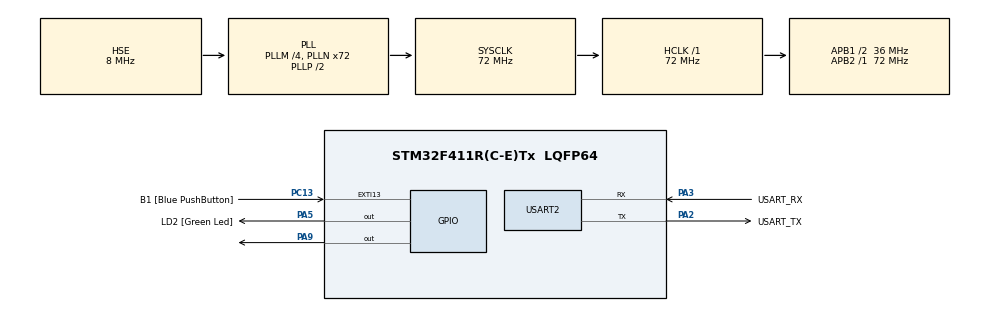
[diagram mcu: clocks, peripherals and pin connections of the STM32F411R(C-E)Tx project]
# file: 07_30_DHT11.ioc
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Mcu.Family=STM32F4
Mcu.Name=STM32F411R(C-E)Tx
Mcu.Package=LQFP64
NVIC.PriorityGroup=NVIC_PRIORITYGROUP_0
PA13.GPIO_Label=TMS
PA13.Mode=Serial_Wire
PA13.Signal=SYS_JTMS-SWDIO
PA14.GPIO_Label=TCK
PA14.Mode=Serial_Wire
PA14.Signal=SYS_JTCK-SWCLK
PA2.GPIO_Label=USART_TX
PA2.Mode=Asynchronous
PA2.Signal=USART2_TX
PA3.GPIO_Label=USART_RX
PA3.Mode=Asynchronous
PA3.Signal=USART2_RX
PA5.GPIO_Label=LD2 [Green Led]
PA5.Signal=GPIO_Output
PA9.Signal=GPIO_Output
PB3.GPIO_Label=SWO
PB3.Signal=SYS_JTDO-SWO
PC13-ANTI_TAMP.GPIO_Label=B1 [Blue PushButton]
PC13-ANTI_TAMP.GPIO_ModeDefaultEXTI=GPIO_MODE_IT_FALLING
PC13-ANTI_TAMP.Signal=GPXTI13
PC14-OSC32_IN.Signal=RCC_OSC32_IN
PC15-OSC32_OUT.Signal=RCC_OSC32_OUT
PH0\ -\ OSC_IN.Mode=HSE-External-Clock-Source
PH0\ -\ OSC_IN.Signal=RCC_OSC_IN
PH1\ -\ OSC_OUT.Mode=HSE-External-Clock-Source
PH1\ -\ OSC_OUT.Signal=RCC_OSC_OUT
ProjectManager.HeapSize=0x200
ProjectManager.StackSize=0x400
ProjectManager.TargetToolchain=STM32CubeIDE
RCC.48MHZClocksFreq_Value=36000000
RCC.AHBFreq_Value=72000000
RCC.APB1CLKDivider=RCC_HCLK_DIV2
RCC.APB1Freq_Value=36000000
RCC.APB1TimFreq_Value=72000000
RCC.APB2Freq_Value=72000000
RCC.APB2TimFreq_Value=72000000
RCC.CortexFreq_Value=72000000
RCC.FLatency-AdvancedSettings=FLASH_LATENCY_2
RCC.HCLKFreq_Value=72000000
RCC.HSE_VALUE=8000000
RCC.HSI_VALUE=16000000
RCC.PLLM=4
RCC.PLLN=72
RCC.PLLSourceVirtual=RCC_PLLSOURCE_HSE
RCC.SYSCLKFreq_VALUE=72000000
RCC.SYSCLKSource=RCC_SYSCLKSOURCE_PLLCLK
RCC.VCOOutputFreq_Value=144000000
TIM1.Prescaler=71
USART2.VirtualMode=VM_ASYNC
VP_TIM1_VS_ClockSourceINT.Mode=Internal
board=NUCLEO-F411RE

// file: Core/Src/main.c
/* USER CODE BEGIN Header */
/**
  ******************************************************************************
  * @file           : main.c
  * @brief          : Main program body
  ******************************************************************************
  * @attention
  *
  * Copyright (c) 2024 STMicroelectronics.
  * All rights reserved.
  *
  * This software is licensed under terms that can be found in the LICENSE file
  * in the root directory of this software component.
  * If no LICENSE file comes with this software, it is provided AS-IS.
  *
  ******************************************************************************
  */
/* USER CODE END Header */
#include "main.h"
#include "stm32f4xx.h"
#include <stdio.h>
#include <string.h>

TIM_HandleTypeDef htim1;

UART_HandleTypeDef huart2;

void SystemClock_Config(void);
static void MX_GPIO_Init(void);
static void MX_USART2_UART_Init(void);
static void MX_TIM1_Init(void);

/* USER CODE BEGIN 0 */
#define delay_ms HAL_Delay
#define SYS_CLOCK    72
#define SYSTICK_LOAD 71999
uint32_t millis_cnt=0;

uint32_t millis(){
  return millis_cnt;
}

uint32_t micros(){
  return (millis_cnt&0x3FFFFF)*1000 + (SYSTICK_LOAD-SysTick->VAL)/SYS_CLOCK;
}

void delay_us(uint32_t us){  // 72MHz
  if(us>1){
    uint32_t count=us*8-6;
    while(count--); //asm volatile("nop");
  }
  else{
    uint32_t count=2;
    while(count--); // asm volatile("nop");
  }
}

union {
  uint32_t data;
  struct {
    uint8_t temp_d;
    uint8_t temp_i;
    uint8_t rh_d;
    uint8_t rh_i;
  };
} DHT;

uint8_t DHT_read () {
  uint8_t i, check_sum;
  uint32_t start;
  check_sum = 0;
  DHT.data = 0;

  //GPIOA->CRH = (GPIOA->CRH&0xFFFFFF0F)|(7<<(1*4));  // Output Open-drain (Master send LOW signal)
  //delay_ms(18);
  //GPIOA->CRH = (GPIOA->CRH&0xFFFFFF0F)|(4<<(1*4));  // Floating input (Master send HIGH signal & data receive)

  // 클럭 설정 등 초기화 코드 필요

  // GPIOA의 9번 핀을 출력, 오픈 드레인으로 설정
  // OTYPER의 OT9 비트 세트하여 오픈 드레인 설정
  GPIOA->OTYPER |= GPIO_OTYPER_OT9;

  // MODER 레지스터에서 9번 핀을 출력 모드로 설정
  GPIOA->MODER &= ~GPIO_MODER_MODER9_Msk; // 9번 핀의 기존 설정 클리어
  GPIOA->MODER |= GPIO_MODER_MODER9_0;    // 9번 핀을 출력 모드로 설정

  // 18밀리초 지연
  delay_ms(18);

  // GPIOA의 9번 핀을 입력, 플로팅으로 설정
  // MODER 레지스터에서 9번 핀을 입력 모드로 설정
  GPIOA->MODER &= ~GPIO_MODER_MODER9_Msk; // 9번 핀의 기존 설정 클리어

  start = micros();
  while (GPIOA->IDR&(1<<9)) {  // HAL_GPIO_ReadPin(GPIOA, GPIO_PIN_9);
    if (micros()-start > 50) return 1;  // 20~40us
  }
  start = micros();
  while (!(GPIOA->IDR&(1<<9))) {
    if (micros()-start > 120) return 2;  // 80us
  }
  start = micros();
  while (GPIOA->IDR&(1<<9)) {
    if (micros()-start > 120) return 3;  // 80us
  }

  for (i = 0; i < 32; i++) {
    while (!(GPIOA->IDR&(1<<9))); // 50us
    start = micros();
    while (GPIOA->IDR&(1<<9));
    if (micros()-start > 50) DHT.data |= (0x80000000 >> i); // "0"=26~28us, "1"=70us
  }
  for (i = 0; i < 8; i++) {
    while (!(GPIOA->IDR&(1<<9))); // 50us
    start = micros();
    while (GPIOA->IDR&(1<<9));
    if (micros()-start > 50) check_sum |= (0x80 >> i);
  }

  if ((DHT.rh_i + DHT.rh_d + DHT.temp_i + DHT.temp_d) == check_sum) return 0;
  else return 4;
}
/* USER CODE END 0 */

int main(void)
{

  /* USER CODE BEGIN 1 */
	char str[100];

  /* USER CODE END 1 */

  /* MCU Configuration--------------------------------------------------------*/

  /* Reset of all peripherals, Initializes the Flash interface and the Systick. */
  HAL_Init();

  /* Configure the system clock */
  SystemClock_Config();

  /* Initialize all configured peripherals */
  MX_GPIO_Init();
  MX_USART2_UART_Init();
  MX_TIM1_Init();
  /* USER CODE BEGIN 2 */
  printf("1st Test");

  /* USER CODE END 2 */

  /* Infinite loop */
  while (1)
  {

    /* USER CODE BEGIN 3 */
	  uint8_t error_no = DHT_read();
	  if(error_no == 0){
                             //아두이노용 라이브러리 dht.h를 참고해서 온도와 습도값을 실수형으로 계산하기
		  float temp = 0;
		  float humi = 0;
		  temp = DHT.temp_i;
		  if (DHT.temp_d & 0x80) {
			  temp = -1 - temp;
		  }
		  temp += (DHT.temp_d & 0x0f) * 0.1;

		  humi = DHT.rh_i + DHT.rh_d * 0.1;

		  printf("Test");
		  sprintf(str, "TEMP: %.2f, HUMI: %.2f \n", temp,humi);
		  HAL_UART_Transmit(&huart2,(uint8_t*)str,strlen(str),100);

	  }
	  delay_ms(1000);

  }
  /* USER CODE END 3 */
}

void SystemClock_Config(void)
{
  RCC_OscInitTypeDef RCC_OscInitStruct = {0};
  RCC_ClkInitTypeDef RCC_ClkInitStruct = {0};

  /** Configure the main internal regulator output voltage
  */
  __HAL_RCC_PWR_CLK_ENABLE();
  __HAL_PWR_VOLTAGESCALING_CONFIG(PWR_REGULATOR_VOLTAGE_SCALE1);

  /** Initializes the RCC Oscillators according to the specified parameters
  * in the RCC_OscInitTypeDef structure.
  */
  RCC_OscInitStruct.OscillatorType = RCC_OSCILLATORTYPE_HSE;
  RCC_OscInitStruct.HSEState = RCC_HSE_BYPASS;
  RCC_OscInitStruct.PLL.PLLState = RCC_PLL_ON;
  RCC_OscInitStruct.PLL.PLLSource = RCC_PLLSOURCE_HSE;
  RCC_OscInitStruct.PLL.PLLM = 4;
  RCC_OscInitStruct.PLL.PLLN = 72;
  RCC_OscInitStruct.PLL.PLLP = RCC_PLLP_DIV2;
  RCC_OscInitStruct.PLL.PLLQ = 4;
  if (HAL_RCC_OscConfig(&RCC_OscInitStruct) != HAL_OK)
  {
    Error_Handler();
  }

  /** Initializes the CPU, AHB and APB buses clocks
  */
  RCC_ClkInitStruct.ClockType = RCC_CLOCKTYPE_HCLK|RCC_CLOCKTYPE_SYSCLK
                              |RCC_CLOCKTYPE_PCLK1|RCC_CLOCKTYPE_PCLK2;
  RCC_ClkInitStruct.SYSCLKSource = RCC_SYSCLKSOURCE_PLLCLK;
  RCC_ClkInitStruct.AHBCLKDivider = RCC_SYSCLK_DIV1;
  RCC_ClkInitStruct.APB1CLKDivider = RCC_HCLK_DIV2;
  RCC_ClkInitStruct.APB2CLKDivider = RCC_HCLK_DIV1;

  if (HAL_RCC_ClockConfig(&RCC_ClkInitStruct, FLASH_LATENCY_2) != HAL_OK)
  {
    Error_Handler();
  }
}

static void MX_TIM1_Init(void)
{

  TIM_ClockConfigTypeDef sClockSourceConfig = {0};
  TIM_MasterConfigTypeDef sMasterConfig = {0};

  htim1.Instance = TIM1;
  htim1.Init.Prescaler = 71;
  htim1.Init.CounterMode = TIM_COUNTERMODE_UP;
  htim1.Init.Period = 65535;
  htim1.Init.ClockDivision = TIM_CLOCKDIVISION_DIV1;
  htim1.Init.RepetitionCounter = 0;
  htim1.Init.AutoReloadPreload = TIM_AUTORELOAD_PRELOAD_DISABLE;
  if (HAL_TIM_Base_Init(&htim1) != HAL_OK)
  {
    Error_Handler();
  }
  sClockSourceConfig.ClockSource = TIM_CLOCKSOURCE_INTERNAL;
  if (HAL_TIM_ConfigClockSource(&htim1, &sClockSourceConfig) != HAL_OK)
  {
    Error_Handler();
  }
  sMasterConfig.MasterOutputTrigger = TIM_TRGO_RESET;
  sMasterConfig.MasterSlaveMode = TIM_MASTERSLAVEMODE_DISABLE;
  if (HAL_TIMEx_MasterConfigSynchronization(&htim1, &sMasterConfig) != HAL_OK)
  {
    Error_Handler();
  }

}

static void MX_USART2_UART_Init(void)
{

  huart2.Instance = USART2;
  huart2.Init.BaudRate = 115200;
  huart2.Init.WordLength = UART_WORDLENGTH_8B;
  huart2.Init.StopBits = UART_STOPBITS_1;
  huart2.Init.Parity = UART_PARITY_NONE;
  huart2.Init.Mode = UART_MODE_TX_RX;
  huart2.Init.HwFlowCtl = UART_HWCONTROL_NONE;
  huart2.Init.OverSampling = UART_OVERSAMPLING_16;
  if (HAL_UART_Init(&huart2) != HAL_OK)
  {
    Error_Handler();
  }

}

static void MX_GPIO_Init(void)
{
  GPIO_InitTypeDef GPIO_InitStruct = {0};

  /* GPIO Ports Clock Enable */
  __HAL_RCC_GPIOC_CLK_ENABLE();
  __HAL_RCC_GPIOH_CLK_ENABLE();
  __HAL_RCC_GPIOA_CLK_ENABLE();
  __HAL_RCC_GPIOB_CLK_ENABLE();

  /*Configure GPIO pin Output Level */
  HAL_GPIO_WritePin(GPIOA, LD2_Pin|GPIO_PIN_9, GPIO_PIN_RESET);

  /*Configure GPIO pin : B1_Pin */
  GPIO_InitStruct.Pin = B1_Pin;
  GPIO_InitStruct.Mode = GPIO_MODE_IT_FALLING;
  GPIO_InitStruct.Pull = GPIO_NOPULL;
  HAL_GPIO_Init(B1_GPIO_Port, &GPIO_InitStruct);

  /*Configure GPIO pins : LD2_Pin PA9 */
  GPIO_InitStruct.Pin = LD2_Pin|GPIO_PIN_9;
  GPIO_InitStruct.Mode = GPIO_MODE_OUTPUT_PP;
  GPIO_InitStruct.Pull = GPIO_NOPULL;
  GPIO_InitStruct.Speed = GPIO_SPEED_FREQ_LOW;
  HAL_GPIO_Init(GPIOA, &GPIO_InitStruct);

}

void Error_Handler(void)
{
  __disable_irq();
  while (1)
  {
  }
}
